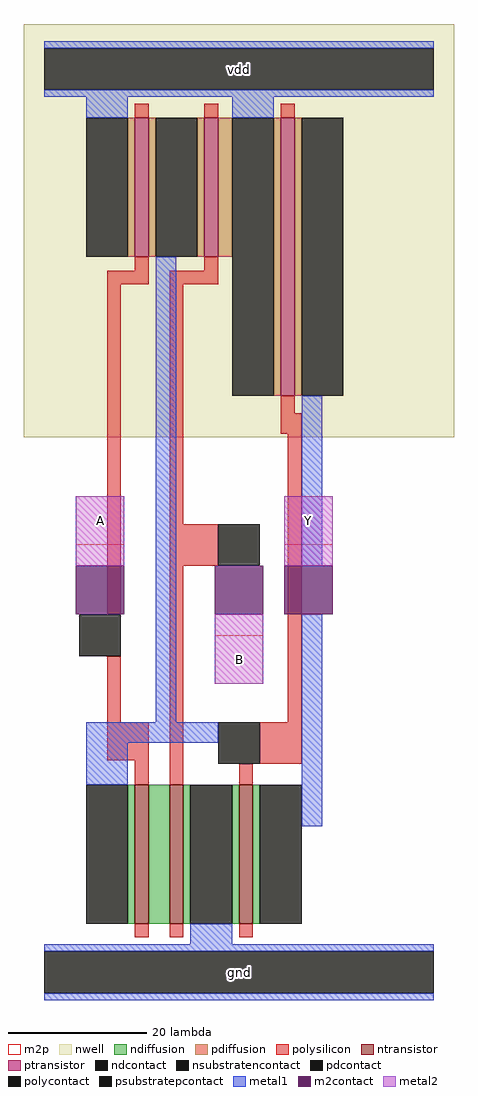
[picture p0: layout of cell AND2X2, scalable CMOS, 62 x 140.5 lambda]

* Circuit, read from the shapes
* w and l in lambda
.subckt AND2X2 A B Y vdd gnd
M1 n1 A n2 gnd nfet w=20 l=2
M2 gnd B n1 gnd nfet w=20 l=2
M3 Y n2 gnd gnd nfet w=20 l=2
M4 n2 A vdd vdd pfet w=20 l=2
M5 vdd B n2 vdd pfet w=20 l=2
M6 Y n2 vdd vdd pfet w=40 l=2
.ends

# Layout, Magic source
magic
tech scmos
magscale 1 2
<< nwell >>
rect -12 154 112 273
<< ntransistor >>
rect 20 14 24 54
rect 30 14 34 54
rect 50 14 54 54
<< ptransistor >>
rect 20 206 24 246
rect 40 206 44 246
rect 62 166 66 246
<< ndiffusion >>
rect 18 14 20 54
rect 24 14 30 54
rect 34 14 36 54
rect 48 14 50 54
rect 54 14 56 54
<< pdiffusion >>
rect 18 206 20 246
rect 24 206 26 246
rect 38 206 40 246
rect 44 206 48 246
rect 60 166 62 246
rect 66 166 68 246
<< ndcontact >>
rect 6 14 18 54
rect 36 14 48 54
rect 56 14 68 54
<< pdcontact >>
rect 6 206 18 246
rect 26 206 38 246
rect 48 166 60 246
rect 68 166 80 246
<< psubstratepcontact >>
rect -6 -6 106 6
<< nsubstratencontact >>
rect -6 254 106 266
<< polysilicon >>
rect 20 246 24 250
rect 40 246 44 250
rect 62 246 66 250
rect 20 202 24 206
rect 40 202 44 206
rect 12 198 24 202
rect 30 198 44 202
rect 12 103 16 198
rect 12 72 16 91
rect 30 129 34 198
rect 62 161 66 166
rect 62 155 68 161
rect 30 117 44 129
rect 12 61 24 72
rect 20 54 24 61
rect 30 54 34 117
rect 64 72 68 155
rect 56 60 68 72
rect 50 54 54 60
rect 20 10 24 14
rect 30 10 34 14
rect 50 10 54 14
<< polycontact >>
rect 4 91 16 103
rect 44 117 56 129
rect 44 60 56 72
<< metal1 >>
rect -6 266 106 268
rect -6 252 106 254
rect 6 246 18 252
rect 48 246 60 252
rect 26 72 32 206
rect 68 117 74 166
rect 6 66 44 72
rect 6 54 18 66
rect 68 42 74 103
rect 36 8 48 14
rect -6 6 106 8
rect -6 -8 106 -6
<< m2contact >>
rect 3 103 17 117
rect 43 103 57 117
rect 63 103 77 117
<< metal2 >>
rect 3 117 17 137
rect 63 117 77 137
rect 43 83 57 103
<< m2p >>
rect 3 123 17 137
rect 63 123 77 137
rect 43 83 57 97
<< labels >>
rlabel metal2 3 123 17 137 0 A
port 0 nsew signal input
rlabel metal2 43 83 57 97 0 B
port 1 nsew signal input
rlabel metal2 63 123 77 137 0 Y
port 2 nsew signal output
rlabel metal1 -6 252 106 268 0 vdd
port 3 nsew power bidirectional abutment
rlabel metal1 -6 -8 106 8 0 gnd
port 4 nsew ground bidirectional abutment
<< properties >>
string FIXED_BBOX 0 0 100 260
string LEFclass CORE
string LEFsite core
string LEFsymmetry X Y
<< end >>
